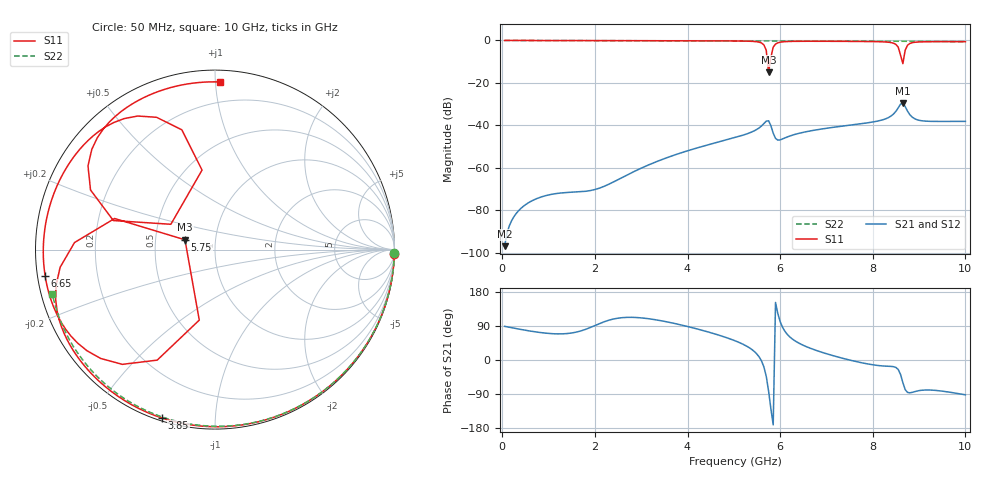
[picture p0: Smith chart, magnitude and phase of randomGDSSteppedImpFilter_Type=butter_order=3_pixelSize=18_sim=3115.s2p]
! freq	dB(S11)	phase(S11)	dB(S12)	phase(S12)
!  dB(S21)	phase(S21)	dB(S22)	phase(S22)
!S-par simulation data
#  GHz  S  DB  R 50
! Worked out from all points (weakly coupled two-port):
!   200 points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, 50 MHz to 10 GHz, reference 50 ohm
!   highest |S21| = -29.57 dB at 8.65 GHz (marker M1); lowest = -97.0 dB at 50 MHz (marker M2)
!   lowest |S11| = -15.1 dB at 5.75 GHz (marker M3), VSWR 1.43, Z = 35.5 + j3.99 ohm
!   |S11| at or under -10 dB: 5.726 GHz to 5.785 GHz (59.81 MHz wide, 1.04 % of centre); 8.638107 GHz to 8.657471 GHz (19.36 MHz wide, 0.224 % of centre)
!   |S22| runs from -0.5 to 0.0 dB; largest |S21 - S12| = 0
!   S11 on the Smith chart (normalised r, x): 50 MHz: 1, -76; 3.85 GHz: 0.01, -0.73; 5.75 GHz: 0.71, +0.08; 6.65 GHz: 0.02, -0.08; 10 GHz: 0.07, +1.03
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0.05  -0.00 -1.5  -97.01 88.8  -97.01 88.8  -0.00 -1.0
1.75  -0.06 -50.7  -71.25 78.8  -71.25 78.8  -0.04 -33.2
3.4  -0.12 -95.6  -56.55 104.3  -56.55 104.3  -0.08 -62.8
3.85  -0.14 -107.5  -53.08 92.8  -53.08 92.8  -0.10 -70.5
5.05  -0.25 -141.3  -45.64 49.6  -45.64 49.6  -0.14 -90.2
5.6  -1.22 -173.5  -40.28 -3.1  -40.28 -3.1  -0.16 -98.9
5.7  -4.65 162.8  -38.05 -43.1  -38.05 -43.1  -0.17 -100.5
5.75  -15.09 161.9  -37.87 -81.8  -37.87 -81.8  -0.17 -101.3
5.8  -7.91 -102.6  -40.20 -128.7  -40.20 -128.7  -0.18 -102.0
5.9  -1.71 -128.9  -46.18 151.9  -46.18 151.9  -0.18 -103.6
6.15  -0.51 -151.9  -45.54 68.2  -45.54 68.2  -0.19 -107.4
6.65  -0.38 -171.1  -42.67 31.1  -42.67 31.1  -0.22 -115.0
6.7  -0.38 -172.7  -42.47 28.7  -42.47 28.7  -0.23 -115.8
7.7  -0.46 156.1  -39.40 -5.7  -39.40 -5.7  -0.30 -130.7
8.35  -0.87 128.5  -36.24 -16.6  -36.24 -16.6  -0.36 -140.2
8.55  -3.19 105.5  -31.77 -25.2  -31.77 -25.2  -0.38 -143.1
8.6  -6.96 99.3  -30.03 -38.1  -30.03 -38.1  -0.38 -143.9
8.65  -10.95 150.2  -29.57 -59.9  -29.57 -59.9  -0.38 -144.6
8.7  -4.60 164.0  -31.20 -78.1  -31.20 -78.1  -0.39 -145.3
8.8  -1.44 146.6  -35.00 -86.7  -35.00 -86.7  -0.40 -146.8
9.2  -0.60 119.7  -38.12 -79.1  -38.12 -79.1  -0.44 -152.8
10  -0.59 88.3  -38.17 -91.8  -38.17 -91.8  -0.54 -164.7
